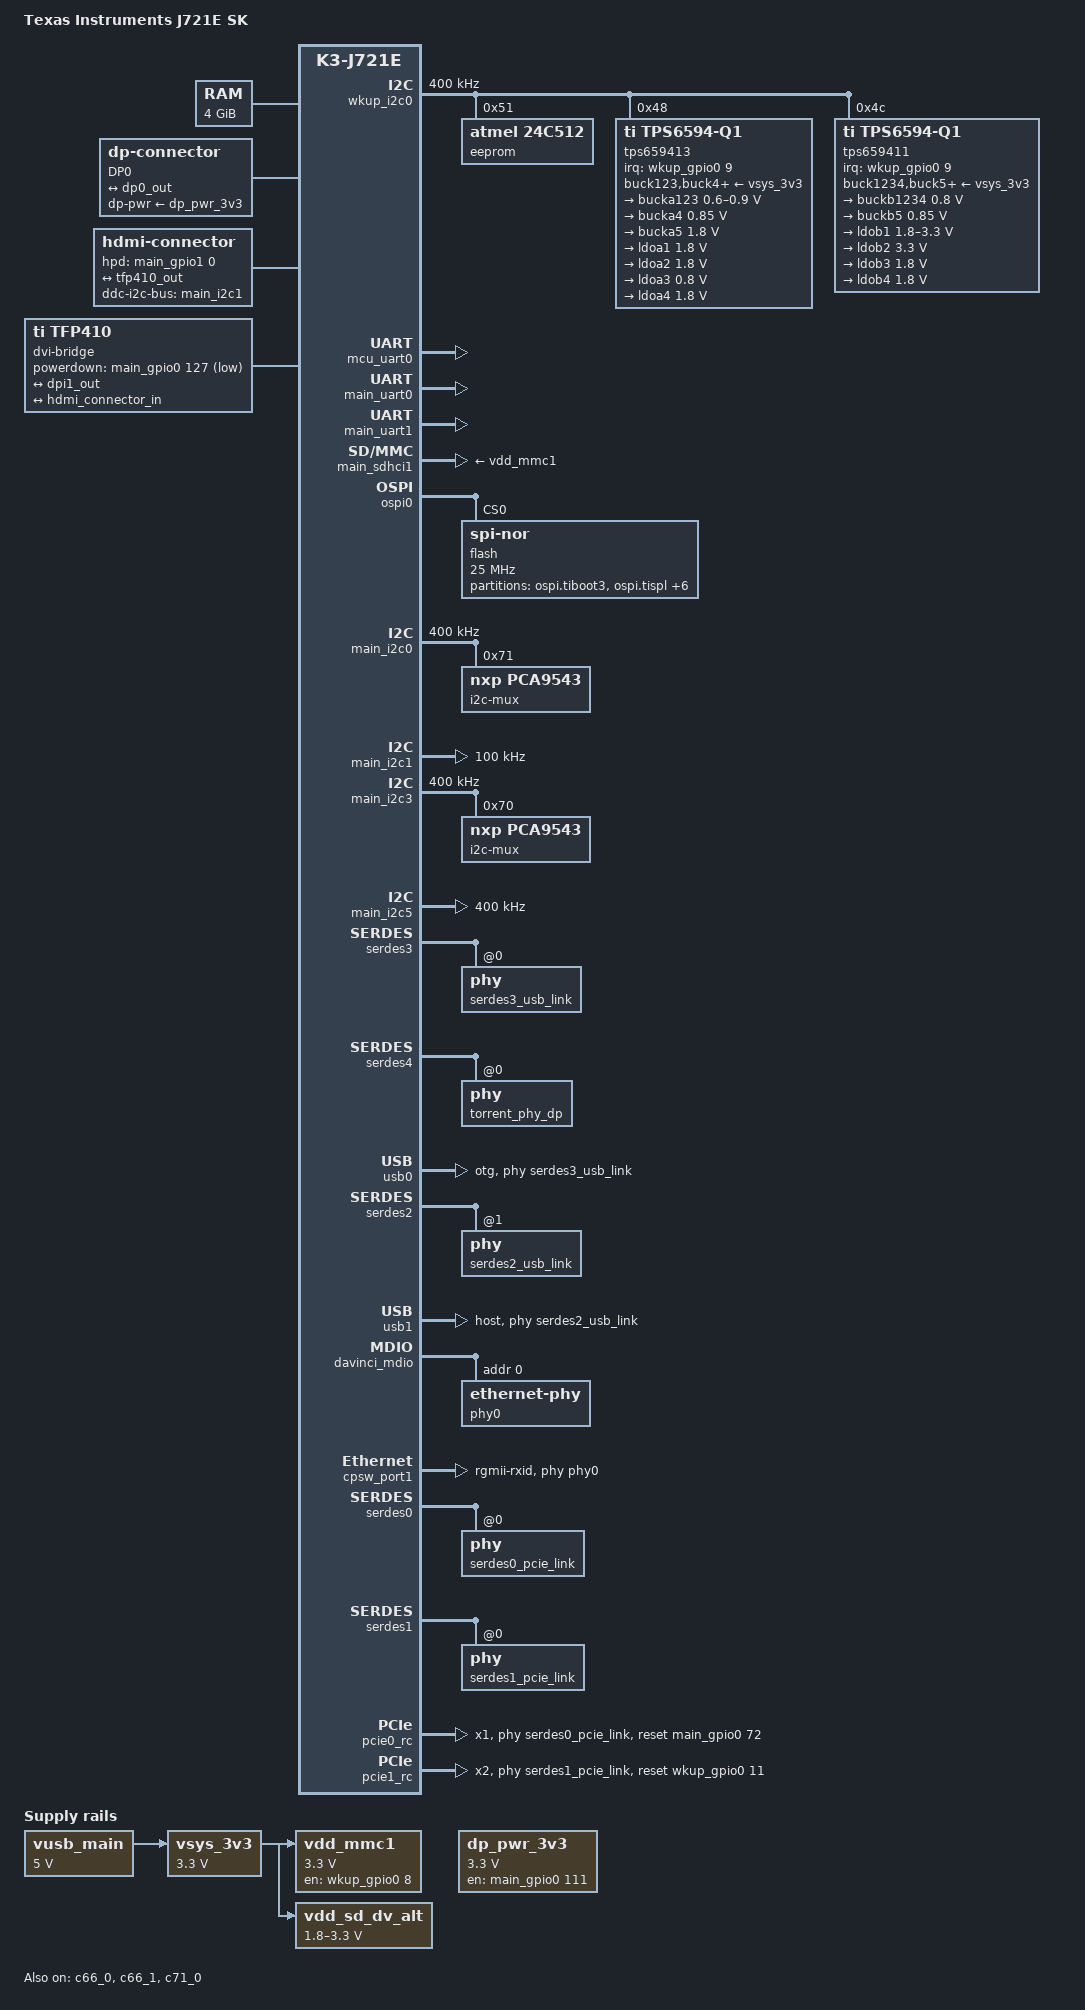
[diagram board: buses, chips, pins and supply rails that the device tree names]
// SPDX-License-Identifier: GPL-2.0
/*
 * Copyright (C) 2021 Texas Instruments Incorporated - https://www.ti.com/
 *
 * J721E SK URL: https://www.ti.com/tool/SK-TDA4VM
 */

/dts-v1/;

#include "k3-j721e.dtsi"
#include <dt-bindings/gpio/gpio.h>
#include <dt-bindings/input/input.h>
#include <dt-bindings/net/ti-dp83867.h>

/ {
	compatible = "ti,j721e-sk", "ti,j721e";
	model = "Texas Instruments J721E SK";

	aliases {
		serial0 = &wkup_uart0;
		serial1 = &mcu_uart0;
		serial2 = &main_uart0;
		serial3 = &main_uart1;
		ethernet0 = &cpsw_port1;
		mmc1 = &main_sdhci1;
	};

	chosen {
		stdout-path = "serial2:115200n8";
	};

	memory@80000000 {
		device_type = "memory";
		/* 4G RAM */
		reg = <0x00000000 0x80000000 0x00000000 0x80000000>,
		      <0x00000008 0x80000000 0x00000000 0x80000000>;
	};

	reserved_memory: reserved-memory {
		#address-cells = <2>;
		#size-cells = <2>;
		ranges;

		secure_ddr: optee@9e800000 {
			reg = <0x00 0x9e800000 0x00 0x01800000>;
			alignment = <0x1000>;
			no-map;
		};

		mcu_r5fss0_core0_dma_memory_region: r5f-dma-memory@a0000000 {
			compatible = "shared-dma-pool";
			reg = <0x00 0xa0000000 0x00 0x100000>;
			no-map;
		};

		mcu_r5fss0_core0_memory_region: r5f-memory@a0100000 {
			compatible = "shared-dma-pool";
			reg = <0x00 0xa0100000 0x00 0xf00000>;
			no-map;
		};

		mcu_r5fss0_core1_dma_memory_region: r5f-dma-memory@a1000000 {
			compatible = "shared-dma-pool";
			reg = <0x00 0xa1000000 0x00 0x100000>;
			no-map;
		};

		mcu_r5fss0_core1_memory_region: r5f-memory@a1100000 {
			compatible = "shared-dma-pool";
			reg = <0x00 0xa1100000 0x00 0xf00000>;
			no-map;
		};

		main_r5fss0_core0_dma_memory_region: r5f-dma-memory@a2000000 {
			compatible = "shared-dma-pool";
			reg = <0x00 0xa2000000 0x00 0x100000>;
			no-map;
		};

		main_r5fss0_core0_memory_region: r5f-memory@a2100000 {
			compatible = "shared-dma-pool";
			reg = <0x00 0xa2100000 0x00 0xf00000>;
			no-map;
		};

		main_r5fss0_core1_dma_memory_region: r5f-dma-memory@a3000000 {
			compatible = "shared-dma-pool";
			reg = <0x00 0xa3000000 0x00 0x100000>;
			no-map;
		};

		main_r5fss0_core1_memory_region: r5f-memory@a3100000 {
			compatible = "shared-dma-pool";
			reg = <0x00 0xa3100000 0x00 0xf00000>;
			no-map;
		};

		main_r5fss1_core0_dma_memory_region: r5f-dma-memory@a4000000 {
			compatible = "shared-dma-pool";
			reg = <0x00 0xa4000000 0x00 0x100000>;
			no-map;
		};

		main_r5fss1_core0_memory_region: r5f-memory@a4100000 {
			compatible = "shared-dma-pool";
			reg = <0x00 0xa4100000 0x00 0xf00000>;
			no-map;
		};

		main_r5fss1_core1_dma_memory_region: r5f-dma-memory@a5000000 {
			compatible = "shared-dma-pool";
			reg = <0x00 0xa5000000 0x00 0x100000>;
			no-map;
		};

		main_r5fss1_core1_memory_region: r5f-memory@a5100000 {
			compatible = "shared-dma-pool";
			reg = <0x00 0xa5100000 0x00 0xf00000>;
			no-map;
		};

		c66_1_dma_memory_region: c66-dma-memory@a6000000 {
			compatible = "shared-dma-pool";
			reg = <0x00 0xa6000000 0x00 0x100000>;
			no-map;
		};

		c66_0_memory_region: c66-memory@a6100000 {
			compatible = "shared-dma-pool";
			reg = <0x00 0xa6100000 0x00 0xf00000>;
			no-map;
		};

		c66_0_dma_memory_region: c66-dma-memory@a7000000 {
			compatible = "shared-dma-pool";
			reg = <0x00 0xa7000000 0x00 0x100000>;
			no-map;
		};

		c66_1_memory_region: c66-memory@a7100000 {
			compatible = "shared-dma-pool";
			reg = <0x00 0xa7100000 0x00 0xf00000>;
			no-map;
		};

		c71_0_dma_memory_region: c71-dma-memory@a8000000 {
			compatible = "shared-dma-pool";
			reg = <0x00 0xa8000000 0x00 0x100000>;
			no-map;
		};

		c71_0_memory_region: c71-memory@a8100000 {
			compatible = "shared-dma-pool";
			reg = <0x00 0xa8100000 0x00 0xf00000>;
			no-map;
		};

		rtos_ipc_memory_region: ipc-memories@aa000000 {
			reg = <0x00 0xaa000000 0x00 0x01c00000>;
			alignment = <0x1000>;
			no-map;
		};
	};

	vusb_main: fixedregulator-vusb-main5v0 {
		/* USB MAIN INPUT 5V DC */
		compatible = "regulator-fixed";
		regulator-name = "vusb-main5v0";
		regulator-min-microvolt = <5000000>;
		regulator-max-microvolt = <5000000>;
		regulator-always-on;
		regulator-boot-on;
	};

	vsys_3v3: fixedregulator-vsys3v3 {
		/* Output of LM5141 */
		compatible = "regulator-fixed";
		regulator-name = "vsys_3v3";
		regulator-min-microvolt = <3300000>;
		regulator-max-microvolt = <3300000>;
		vin-supply = <&vusb_main>;
		regulator-always-on;
		regulator-boot-on;
	};

	vdd_mmc1: fixedregulator-sd {
		compatible = "regulator-fixed";
		pinctrl-names = "default";
		pinctrl-0 = <&vdd_mmc1_en_pins_default>;
		regulator-name = "vdd_mmc1";
		regulator-min-microvolt = <3300000>;
		regulator-max-microvolt = <3300000>;
		regulator-boot-on;
		enable-active-high;
		vin-supply = <&vsys_3v3>;
		gpio = <&wkup_gpio0 8 GPIO_ACTIVE_HIGH>;
	};

	vdd_sd_dv_alt: gpio-regulator-tps659411 {
		compatible = "regulator-gpio";
		pinctrl-names = "default";
		pinctrl-0 = <&vdd_sd_dv_alt_pins_default>;
		regulator-name = "tps659411";
		regulator-min-microvolt = <1800000>;
		regulator-max-microvolt = <3300000>;
		regulator-boot-on;
		vin-supply = <&vsys_3v3>;
		gpios = <&wkup_gpio0 9 GPIO_ACTIVE_HIGH>;
		states = <1800000 0x0>,
			 <3300000 0x1>;
	};

	dp_pwr_3v3: fixedregulator-dp-prw {
		compatible = "regulator-fixed";
		regulator-name = "dp-pwr";
		regulator-min-microvolt = <3300000>;
		regulator-max-microvolt = <3300000>;
		pinctrl-names = "default";
		pinctrl-0 = <&dp_pwr_en_pins_default>;
		gpio = <&main_gpio0 111 0>;	/* DP0_3V3 _EN */
		enable-active-high;
	};

	dp0: connector {
		compatible = "dp-connector";
		label = "DP0";
		type = "full-size";
		dp-pwr-supply = <&dp_pwr_3v3>;

		port {
			dp_connector_in: endpoint {
				remote-endpoint = <&dp0_out>;
			};
		};
	};

	hdmi-connector {
		compatible = "hdmi-connector";
		label = "hdmi";
		type = "a";

		pinctrl-names = "default";
		pinctrl-0 = <&hdmi_hpd_pins_default>;

		ddc-i2c-bus = <&main_i2c1>;

		/* HDMI_HPD */
		hpd-gpios = <&main_gpio1 0 GPIO_ACTIVE_HIGH>;

		port {
			hdmi_connector_in: endpoint {
				remote-endpoint = <&tfp410_out>;
			};
		};
	};

	dvi-bridge {
		compatible = "ti,tfp410";

		pinctrl-names = "default";
		pinctrl-0 = <&hdmi_pdn_pins_default>;

		powerdown-gpios = <&main_gpio0 127 GPIO_ACTIVE_LOW>;
		ti,deskew = <0>;

		ports {
			#address-cells = <1>;
			#size-cells = <0>;

			port@0 {
				reg = <0>;

				tfp410_in: endpoint {
					remote-endpoint = <&dpi1_out>;
					pclk-sample = <1>;
				};
			};

			port@1 {
				reg = <1>;

				tfp410_out: endpoint {
					remote-endpoint =
						<&hdmi_connector_in>;
				};
			};
		};
	};
};

&main_pmx0 {
	main_mmc1_pins_default: main-mmc1-default-pins {
		pinctrl-single,pins = <
			J721E_IOPAD(0x254, PIN_INPUT, 0) /* (R29) MMC1_CMD */
			J721E_IOPAD(0x250, PIN_INPUT, 0) /* (P25) MMC1_CLK */
			J721E_IOPAD(0x2ac, PIN_INPUT, 0) /* (P25) MMC1_CLKLB */
			J721E_IOPAD(0x24c, PIN_INPUT, 0) /* (R24) MMC1_DAT0 */
			J721E_IOPAD(0x248, PIN_INPUT, 0) /* (P24) MMC1_DAT1 */
			J721E_IOPAD(0x244, PIN_INPUT, 0) /* (R25) MMC1_DAT2 */
			J721E_IOPAD(0x240, PIN_INPUT, 0) /* (R26) MMC1_DAT3 */
			J721E_IOPAD(0x258, PIN_INPUT, 0) /* (P23) MMC1_SDCD */
		>;
	};

	main_uart0_pins_default: main-uart0-default-pins {
		pinctrl-single,pins = <
			J721E_IOPAD(0x1f0, PIN_INPUT, 0) /* (AC2) UART0_CTSn */
			J721E_IOPAD(0x1f4, PIN_OUTPUT, 0) /* (AB1) UART0_RTSn */
			J721E_IOPAD(0x1e8, PIN_INPUT, 0) /* (AB2) UART0_RXD */
			J721E_IOPAD(0x1ec, PIN_OUTPUT, 0) /* (AB3) UART0_TXD */
		>;
	};

	main_uart1_pins_default: main-uart1-default-pins {
		pinctrl-single,pins = <
			J721E_IOPAD(0x1f8, PIN_INPUT, 0) /* (AA4) UART1_RXD */
			J721E_IOPAD(0x1fc, PIN_OUTPUT, 0) /* (AB4) UART1_TXD */
		>;
	};

	main_i2c0_pins_default: main-i2c0-default-pins {
		pinctrl-single,pins = <
			J721E_IOPAD(0x220, PIN_INPUT_PULLUP, 0) /* (AC5) I2C0_SCL */
			J721E_IOPAD(0x224, PIN_INPUT_PULLUP, 0) /* (AA5) I2C0_SDA */
		>;
	};

	main_i2c1_pins_default: main-i2c1-default-pins {
		pinctrl-single,pins = <
			J721E_IOPAD(0x228, PIN_INPUT_PULLUP, 0) /* (Y6) I2C1_SCL */
			J721E_IOPAD(0x22c, PIN_INPUT_PULLUP, 0) /* (AA6) I2C1_SDA */
		>;
	};

	main_i2c3_pins_default: main-i2c3-default-pins {
		pinctrl-single,pins = <
			J721E_IOPAD(0x270, PIN_INPUT_PULLUP, 4) /* (T26) MMC2_CLK.I2C3_SCL */
			J721E_IOPAD(0x274, PIN_INPUT_PULLUP, 4) /* (T25) MMC2_CMD.I2C3_SDA */
		>;
	};

	main_usbss0_pins_default: main-usbss0-default-pins {
		pinctrl-single,pins = <
			J721E_IOPAD(0x290, PIN_OUTPUT, 0) /* (U6) USB0_DRVVBUS */
			J721E_IOPAD(0x210, PIN_INPUT, 7) /* (W3) MCAN1_RX.GPIO1_3 */
		>;
	};

	main_usbss1_pins_default: main-usbss1-default-pins {
		pinctrl-single,pins = <
			J721E_IOPAD(0x214, PIN_OUTPUT, 4) /* (V4) MCAN1_TX.USB1_DRVVBUS */
		>;
	};

	dp0_pins_default: dp0-default-pins {
		pinctrl-single,pins = <
			J721E_IOPAD(0x1c4, PIN_INPUT, 5) /* SPI0_CS1.DP0_HPD */
		>;
	};

	dp_pwr_en_pins_default: dp-pwr-en-default-pins {
		pinctrl-single,pins = <
			J721E_IOPAD(0x1c0, PIN_INPUT, 7) /* (AA2) SPI0_CS0.GPIO0_111 */
		>;
	};

	dss_vout0_pins_default: dss-vout0-default-pins {
		pinctrl-single,pins = <
			J721E_IOPAD(0x58, PIN_OUTPUT, 10) /* (AE22) PRG1_PRU1_GPO0.VOUT0_DATA0 */
			J721E_IOPAD(0x5c, PIN_OUTPUT, 10) /* (AG23) PRG1_PRU1_GPO1.VOUT0_DATA1 */
			J721E_IOPAD(0x60, PIN_OUTPUT, 10) /* (AF23) PRG1_PRU1_GPO2.VOUT0_DATA2 */
			J721E_IOPAD(0x64, PIN_OUTPUT, 10) /* (AD23) PRG1_PRU1_GPO3.VOUT0_DATA3 */
			J721E_IOPAD(0x68, PIN_OUTPUT, 10) /* (AH24) PRG1_PRU1_GPO4.VOUT0_DATA4 */
			J721E_IOPAD(0x6c, PIN_OUTPUT, 10) /* (AG21) PRG1_PRU1_GPO5.VOUT0_DATA5 */
			J721E_IOPAD(0x70, PIN_OUTPUT, 10) /* (AE23) PRG1_PRU1_GPO6.VOUT0_DATA6 */
			J721E_IOPAD(0x74, PIN_OUTPUT, 10) /* (AC21) PRG1_PRU1_GPO7.VOUT0_DATA7 */
			J721E_IOPAD(0x78, PIN_OUTPUT, 10) /* (Y23) PRG1_PRU1_GPO8.VOUT0_DATA8 */
			J721E_IOPAD(0x7c, PIN_OUTPUT, 10) /* (AF21) PRG1_PRU1_GPO9.VOUT0_DATA9 */
			J721E_IOPAD(0x80, PIN_OUTPUT, 10) /* (AB23) PRG1_PRU1_GPO10.VOUT0_DATA10 */
			J721E_IOPAD(0x84, PIN_OUTPUT, 10) /* (AJ25) PRG1_PRU1_GPO11.VOUT0_DATA11 */
			J721E_IOPAD(0x88, PIN_OUTPUT, 10) /* (AH25) PRG1_PRU1_GPO12.VOUT0_DATA12 */
			J721E_IOPAD(0x8c, PIN_OUTPUT, 10) /* (AG25) PRG1_PRU1_GPO13.VOUT0_DATA13 */
			J721E_IOPAD(0x90, PIN_OUTPUT, 10) /* (AH26) PRG1_PRU1_GPO14.VOUT0_DATA14 */
			J721E_IOPAD(0x94, PIN_OUTPUT, 10) /* (AJ27) PRG1_PRU1_GPO15.VOUT0_DATA15 */
			J721E_IOPAD(0x30, PIN_OUTPUT, 10) /* (AF24) PRG1_PRU0_GPO11.VOUT0_DATA16 */
			J721E_IOPAD(0x34, PIN_OUTPUT, 10) /* (AJ24) PRG1_PRU0_GPO12.VOUT0_DATA17 */
			J721E_IOPAD(0x38, PIN_OUTPUT, 10) /* (AG24) PRG1_PRU0_GPO13.VOUT0_DATA18 */
			J721E_IOPAD(0x3c, PIN_OUTPUT, 10) /* (AD24) PRG1_PRU0_GPO14.VOUT0_DATA19 */
			J721E_IOPAD(0x40, PIN_OUTPUT, 10) /* (AC24) PRG1_PRU0_GPO15.VOUT0_DATA20 */
			J721E_IOPAD(0x44, PIN_OUTPUT, 10) /* (AE24) PRG1_PRU0_GPO16.VOUT0_DATA21 */
			J721E_IOPAD(0x24, PIN_OUTPUT, 10) /* (AJ20) PRG1_PRU0_GPO8.VOUT0_DATA22 */
			J721E_IOPAD(0x28, PIN_OUTPUT, 10) /* (AG20) PRG1_PRU0_GPO9.VOUT0_DATA23 */
			J721E_IOPAD(0x9c, PIN_OUTPUT, 10) /* (AC22) PRG1_PRU1_GPO17.VOUT0_DE */
			J721E_IOPAD(0x98, PIN_OUTPUT, 10) /* (AJ26) PRG1_PRU1_GPO16.VOUT0_HSYNC */
			J721E_IOPAD(0xa4, PIN_OUTPUT, 10) /* (AH22) PRG1_PRU1_GPO19.VOUT0_PCLK */
			J721E_IOPAD(0xa0, PIN_OUTPUT, 10) /* (AJ22) PRG1_PRU1_GPO18.VOUT0_VSYNC */
		>;
	};

	hdmi_hpd_pins_default: hdmi-hpd-default-pins {
		pinctrl-single,pins = <
			J721E_IOPAD(0x204, PIN_INPUT, 7) /* (AD5) UART1_RTSn.GPIO1_0 */
		>;
	};

	hdmi_pdn_pins_default: hdmi-pdn-default-pins {
		pinctrl-single,pins = <
			J721E_IOPAD(0x200, PIN_INPUT, 7) /* (AC4) UART1_CTSn.GPIO0_127 */
		>;
	};

	/* Reset for M.2 E Key slot on PCIe0  */
	ekey_reset_pins_default: ekey-reset-pns-default-pins {
		pinctrl-single,pins = <
			J721E_IOPAD(0x124, PIN_INPUT, 7) /* (Y24) PRG0_PRU1_GPO9.GPIO0_72 */
		>;
	};

	main_i2c5_pins_default: main-i2c5-default-pins {
		pinctrl-single,pins = <
			J721E_IOPAD(0x150, PIN_INPUT_PULLUP, 2) /* (Y26) PRG0_MDIO0_MDIO.I2C5_SCL */
			J721E_IOPAD(0x154, PIN_INPUT_PULLUP, 2) /* (AA27) PRG0_MDIO0_MDC.I2C5_SDA */
		>;
	};

	rpi_header_gpio0_pins_default: rpi-header-gpio0-default-pins {
		pinctrl-single,pins = <
			J721E_IOPAD(0x01C, PIN_INPUT, 7) /* (AD22) PRG1_PRU0_GPO6.GPIO0_7 */
			J721E_IOPAD(0x120, PIN_INPUT, 7) /* (AA28) PRG0_PRU1_GPO8.GPIO0_71 */
			J721E_IOPAD(0x14C, PIN_INPUT, 7) /* (AA29) PRG0_PRU1_GPO19.GPIO0_82 */
			J721E_IOPAD(0x02C, PIN_INPUT, 7) /* (AD21) PRG1_PRU0_GPO10.GPIO0_11 */
			J721E_IOPAD(0x198, PIN_INPUT, 7) /* (V25) RGMII6_TD1.GPIO0_101 */
			J721E_IOPAD(0x1B0, PIN_INPUT, 7) /* (W24) RGMII6_RD1.GPIO0_107 */
			J721E_IOPAD(0x1A0, PIN_INPUT, 7) /* (W29) RGMII6_TXC.GPIO0_103 */
			J721E_IOPAD(0x008, PIN_INPUT, 7) /* (AG22) PRG1_PRU0_GPO1.GPIO0_2 */
			J721E_IOPAD(0x1D0, PIN_INPUT, 7) /* (AA3) SPI0_D1.GPIO0_115 */
			J721E_IOPAD(0x11C, PIN_INPUT, 7) /* (AA24) PRG0_PRU1_GPO7.GPIO0_70 */
			J721E_IOPAD(0x148, PIN_INPUT, 7) /* (AA26) PRG0_PRU1_GPO18.GPIO0_81 */
			J721E_IOPAD(0x004, PIN_INPUT, 7) /* (AC23) PRG1_PRU0_GPO0.GPIO0_1 */
			J721E_IOPAD(0x014, PIN_INPUT, 7) /* (AH23) PRG1_PRU0_GPO4.GPIO0_5 */
			J721E_IOPAD(0x020, PIN_INPUT, 7) /* (AE20) PRG1_PRU0_GPO7.GPIO0_8 */
			J721E_IOPAD(0x19C, PIN_INPUT, 7) /* (W27) RGMII6_TD0.GPIO0_102 */
			J721E_IOPAD(0x1B4, PIN_INPUT, 7) /* (W25) RGMII6_RD0.GPIO0_108 */
			J721E_IOPAD(0x188, PIN_INPUT, 7) /* (Y28) RGMII6_TX_CTL.GPIO0_97 */
			J721E_IOPAD(0x00C, PIN_INPUT, 7) /* (AF22) PRG1_PRU0_GPO2.GPIO0_3 */
			J721E_IOPAD(0x010, PIN_INPUT, 7) /* (AJ23) PRG1_PRU0_GPO3.GPIO0_4 */
			J721E_IOPAD(0x178, PIN_INPUT, 7) /* (U27) RGMII5_RD3.GPIO0_93 */
			J721E_IOPAD(0x17C, PIN_INPUT, 7) /* (U24) RGMII5_RD2.GPIO0_94 */
			J721E_IOPAD(0x190, PIN_INPUT, 7) /* (W23) RGMII6_TD3.GPIO0_99 */
			J721E_IOPAD(0x18C, PIN_INPUT, 7) /* (V23) RGMII6_RX_CTL.GPIO0_98 */
		>;
	};

	rpi_header_gpio1_pins_default: rpi-header-gpio1-default-pins {
		pinctrl-single,pins = <
			J721E_IOPAD(0x234, PIN_INPUT, 7) /* (U3) EXT_REFCLK1.GPIO1_12 */
		>;
	};
};

&wkup_pmx0 {
	pmic_irq_pins_default: pmic-irq-default-pins {
		pinctrl-single,pins = <
			J721E_WKUP_IOPAD(0x0cc, PIN_INPUT, 7) /* (G28) WKUP_GPIO0_7 */
		>;
	};

	mcu_cpsw_pins_default: mcu-cpsw-default-pins {
		pinctrl-single,pins = <
			J721E_WKUP_IOPAD(0x84, PIN_INPUT, 0) /* (B24) MCU_RGMII1_RD0 */
			J721E_WKUP_IOPAD(0x80, PIN_INPUT, 0) /* (A24) MCU_RGMII1_RD1 */
			J721E_WKUP_IOPAD(0x7c, PIN_INPUT, 0) /* (D24) MCU_RGMII1_RD2 */
			J721E_WKUP_IOPAD(0x78, PIN_INPUT, 0) /* (A25) MCU_RGMII1_RD3 */
			J721E_WKUP_IOPAD(0x74, PIN_INPUT, 0) /* (C24) MCU_RGMII1_RXC */
			J721E_WKUP_IOPAD(0x5c, PIN_INPUT, 0) /* (C25) MCU_RGMII1_RX_CTL */
			J721E_WKUP_IOPAD(0x6c, PIN_OUTPUT, 0) /* (B25) MCU_RGMII1_TD0 */
			J721E_WKUP_IOPAD(0x68, PIN_OUTPUT, 0) /* (A26) MCU_RGMII1_TD1 */
			J721E_WKUP_IOPAD(0x64, PIN_OUTPUT, 0) /* (A27) MCU_RGMII1_TD2 */
			J721E_WKUP_IOPAD(0x60, PIN_OUTPUT, 0) /* (A28) MCU_RGMII1_TD3 */
			J721E_WKUP_IOPAD(0x70, PIN_OUTPUT, 0) /* (B26) MCU_RGMII1_TXC */
			J721E_WKUP_IOPAD(0x58, PIN_OUTPUT, 0) /* (B27) MCU_RGMII1_TX_CTL */
		>;
	};

	mcu_mdio_pins_default: mcu-mdio1-default-pins {
		pinctrl-single,pins = <
			J721E_WKUP_IOPAD(0x8c, PIN_OUTPUT, 0) /* (F23) MCU_MDIO0_MDC */
			J721E_WKUP_IOPAD(0x88, PIN_INPUT, 0) /* (E23) MCU_MDIO0_MDIO */
		>;
	};

	mcu_fss0_ospi0_pins_default: mcu-fss0-ospi0-default-pins {
		pinctrl-single,pins = <
			J721E_WKUP_IOPAD(0x0, PIN_OUTPUT, 0) /* (E20) MCU_OSPI0_CLK */
			J721E_WKUP_IOPAD(0x2c, PIN_OUTPUT, 0) /* (F19) MCU_OSPI0_CSn0 */
			J721E_WKUP_IOPAD(0xc, PIN_INPUT, 0) /* (D20) MCU_OSPI0_D0 */
			J721E_WKUP_IOPAD(0x10, PIN_INPUT, 0) /* (G19) MCU_OSPI0_D1 */
			J721E_WKUP_IOPAD(0x14, PIN_INPUT, 0) /* (G20) MCU_OSPI0_D2 */
			J721E_WKUP_IOPAD(0x18, PIN_INPUT, 0) /* (F20) MCU_OSPI0_D3 */
			J721E_WKUP_IOPAD(0x1c, PIN_INPUT, 0) /* (F21) MCU_OSPI0_D4 */
			J721E_WKUP_IOPAD(0x20, PIN_INPUT, 0) /* (E21) MCU_OSPI0_D5 */
			J721E_WKUP_IOPAD(0x24, PIN_INPUT, 0) /* (B22) MCU_OSPI0_D6 */
			J721E_WKUP_IOPAD(0x28, PIN_INPUT, 0) /* (G21) MCU_OSPI0_D7 */
			J721E_WKUP_IOPAD(0x8, PIN_INPUT, 0) /* (D21) MCU_OSPI0_DQS */
		>;
	};

	vdd_mmc1_en_pins_default: vdd-mmc1-en-default-pins {
		pinctrl-single,pins = <
			J721E_WKUP_IOPAD(0xd0, PIN_OUTPUT, 7) /* (G27) WKUP_GPIO0_8 */
		>;
	};

	vdd_sd_dv_alt_pins_default: vdd-sd-dv-alt-default-pins {
		pinctrl-single,pins = <
			J721E_WKUP_IOPAD(0xd4, PIN_OUTPUT, 7) /* (G26) WKUP_GPIO0_9 */
		>;
	};

	wkup_uart0_pins_default: wkup-uart0-default-pins {
		pinctrl-single,pins = <
			J721E_WKUP_IOPAD(0xa0, PIN_INPUT, 0) /* (J29) WKUP_UART0_RXD */
			J721E_WKUP_IOPAD(0xa4, PIN_OUTPUT, 0) /* (J28) WKUP_UART0_TXD */
		>;
	};

	mcu_uart0_pins_default: mcu-uart0-default-pins {
		pinctrl-single,pins = <
			J721E_WKUP_IOPAD(0xf0, PIN_INPUT, 2) /* (D26) MCU_I3C0_SCL.MCU_UART0_CTSn */
			J721E_WKUP_IOPAD(0xf4, PIN_OUTPUT, 2)/* (D25) MCU_I3C0_SDA.MCU_UART0_RTSn */
			J721E_WKUP_IOPAD(0xe4, PIN_INPUT, 0) /* (H28) WKUP_GPIO0_13.MCU_UART0_RXD */
			J721E_WKUP_IOPAD(0xe0, PIN_OUTPUT, 0)/* (G29) WKUP_GPIO0_12.MCU_UART0_TXD */
		>;
	};

	wkup_i2c0_pins_default: wkup-i2c0-default-pins {
		pinctrl-single,pins = <
			J721E_WKUP_IOPAD(0xf8, PIN_INPUT_PULLUP, 0) /* (J25) WKUP_I2C0_SCL */
			J721E_WKUP_IOPAD(0xfc, PIN_INPUT_PULLUP, 0) /* (H24) WKUP_I2C0_SDA */
		>;
	};

	/* Reset for M.2 M Key slot on PCIe1  */
	mkey_reset_pins_default: mkey-reset-pns-default-pins {
		pinctrl-single,pins = <
			J721E_WKUP_IOPAD(0xdc, PIN_INPUT, 7) /* (H27) WKUP_GPIO0_11 */
		>;
	};
};

&wkup_uart0 {
	/* Wakeup UART is used by System firmware */
	status = "reserved";
	pinctrl-names = "default";
	pinctrl-0 = <&wkup_uart0_pins_default>;
};

&wkup_i2c0 {
	status = "okay";
	pinctrl-names = "default";
	pinctrl-0 = <&wkup_i2c0_pins_default>;
	clock-frequency = <400000>;

	eeprom@51 {
		/* AT24C512C-MAHM-T */
		compatible = "atmel,24c512";
		reg = <0x51>;
	};

	tps659413: pmic@48 {
		compatible = "ti,tps6594-q1";
		reg = <0x48>;
		system-power-controller;
		pinctrl-names = "default";
		pinctrl-0 = <&pmic_irq_pins_default>;
		interrupt-parent = <&wkup_gpio0>;
		interrupts = <9 IRQ_TYPE_EDGE_FALLING>;
		gpio-controller;
		#gpio-cells = <2>;
		ti,primary-pmic;
		buck123-supply = <&vsys_3v3>;
		buck4-supply = <&vsys_3v3>;
		buck5-supply = <&vsys_3v3>;
		ldo1-supply = <&vsys_3v3>;
		ldo2-supply = <&vsys_3v3>;
		ldo3-supply = <&vsys_3v3>;
		ldo4-supply = <&vsys_3v3>;

		regulators {
			bucka123: buck123 {
				regulator-name = "vdd_cpu_avs";
				regulator-min-microvolt = <600000>;
				regulator-max-microvolt = <900000>;
				regulator-boot-on;
				regulator-always-on;
				bootph-pre-ram;
			};

			bucka4: buck4 {
				regulator-name = "vdd_mcu_0v85";
				regulator-min-microvolt = <850000>;
				regulator-max-microvolt = <850000>;
				regulator-boot-on;
				regulator-always-on;
			};

			bucka5: buck5 {
				regulator-name = "vdd_phyio_1v8";
				regulator-min-microvolt = <1800000>;
				regulator-max-microvolt = <1800000>;
				regulator-boot-on;
				regulator-always-on;
			};

			ldoa1: ldo1 {
				regulator-name = "vdd1_lpddr4_1v8";
				regulator-min-microvolt = <1800000>;
				regulator-max-microvolt = <1800000>;
				regulator-boot-on;
				regulator-always-on;
			};

			ldoa2: ldo2 {
				regulator-name = "vdd_mcuio_1v8";
				regulator-min-microvolt = <1800000>;
				regulator-max-microvolt = <1800000>;
				regulator-boot-on;
				regulator-always-on;
			};

			ldoa3: ldo3 {
				regulator-name = "vdda_dll_0v8";
				regulator-min-microvolt = <800000>;
				regulator-max-microvolt = <800000>;
				regulator-boot-on;
				regulator-always-on;
			};

			ldoa4: ldo4 {
				regulator-name = "vda_mcu_1v8";
				regulator-min-microvolt = <1800000>;
				regulator-max-microvolt = <1800000>;
				regulator-boot-on;
				regulator-always-on;
			};
		};
	};

	tps659411: pmic@4c {
		compatible = "ti,tps6594-q1";
		reg = <0x4c>;
		system-power-controller;
		interrupt-parent = <&wkup_gpio0>;
		interrupts = <9 IRQ_TYPE_EDGE_FALLING>;
		gpio-controller;
		#gpio-cells = <2>;
		buck1234-supply = <&vsys_3v3>;
		buck5-supply = <&vsys_3v3>;
		ldo1-supply = <&vsys_3v3>;
		ldo2-supply = <&vsys_3v3>;
		ldo3-supply = <&vsys_3v3>;
		ldo4-supply = <&vsys_3v3>;

		regulators {
			buckb1234: buck1234 {
				regulator-name = "vdd_core_0v8";
				regulator-min-microvolt = <800000>;
				regulator-max-microvolt = <800000>;
				regulator-boot-on;
				regulator-always-on;
			};

			buckb5: buck5 {
				regulator-name = "vdd_ram_0v85";
				regulator-min-microvolt = <850000>;
				regulator-max-microvolt = <850000>;
				regulator-boot-on;
				regulator-always-on;
			};

			ldob1: ldo1 {
				regulator-name = "vdd_sd_dv";
				regulator-min-microvolt = <1800000>;
				regulator-max-microvolt = <3300000>;
				regulator-boot-on;
				regulator-always-on;
			};

			ldob2: ldo2 {
				regulator-name = "vdd_usb_3v3";
				regulator-min-microvolt = <3300000>;
				regulator-max-microvolt = <3300000>;
				regulator-boot-on;
				regulator-always-on;
			};

			ldob3: ldo3 {
				regulator-name = "vdd_io_1v8";
				regulator-min-microvolt = <1800000>;
				regulator-max-microvolt = <1800000>;
				regulator-boot-on;
				regulator-always-on;
			};

			ldob4: ldo4 {
				regulator-name = "vda_pll_1v8";
				regulator-min-microvolt = <1800000>;
				regulator-max-microvolt = <1800000>;
				regulator-boot-on;
				regulator-always-on;
			};
		};
	};
};

&mcu_uart0 {
	status = "okay";
	pinctrl-names = "default";
	pinctrl-0 = <&mcu_uart0_pins_default>;
};

&main_uart0 {
	status = "okay";
	pinctrl-names = "default";
	pinctrl-0 = <&main_uart0_pins_default>;
	/* Shared with ATF on this platform */
	power-domains = <&k3_pds 146 TI_SCI_PD_SHARED>;
};

&main_uart1 {
	status = "okay";
	pinctrl-names = "default";
	pinctrl-0 = <&main_uart1_pins_default>;
};

&main_sdhci1 {
	/* SD Card */
	status = "okay";
	vmmc-supply = <&vdd_mmc1>;
	vqmmc-supply = <&vdd_sd_dv_alt>;
	pinctrl-names = "default";
	pinctrl-0 = <&main_mmc1_pins_default>;
	ti,driver-strength-ohm = <50>;
	disable-wp;
};

&ospi0 {
	status = "okay";
	pinctrl-names = "default";
	pinctrl-0 = <&mcu_fss0_ospi0_pins_default>;

	flash@0 {
		compatible = "jedec,spi-nor";
		reg = <0x0>;
		spi-tx-bus-width = <8>;
		spi-rx-bus-width = <8>;
		spi-max-frequency = <25000000>;
		cdns,tshsl-ns = <60>;
		cdns,tsd2d-ns = <60>;
		cdns,tchsh-ns = <60>;
		cdns,tslch-ns = <60>;
		cdns,read-delay = <4>;

		partitions {
			compatible = "fixed-partitions";
			#address-cells = <1>;
			#size-cells = <1>;

			partition@0 {
				label = "ospi.tiboot3";
				reg = <0x0 0x80000>;
			};

			partition@80000 {
				label = "ospi.tispl";
				reg = <0x80000 0x200000>;
			};

			partition@280000 {
				label = "ospi.u-boot";
				reg = <0x280000 0x400000>;
			};

			partition@680000 {
				label = "ospi.env";
				reg = <0x680000 0x40000>;
			};

			partition@6c0000 {
				label = "ospi.sysfw";
				reg = <0x6c0000 0x100000>;
			};

			partition@7c0000 {
				label = "ospi.env.backup";
				reg = <0x7c0000 0x40000>;
			};

			partition@800000 {
				label = "ospi.rootfs";
				reg = <0x800000 0x37c0000>;
			};

			partition@3fc0000 {
				label = "ospi.phypattern";
				reg = <0x3fc0000 0x40000>;
			};
		};
	};
};

&main_i2c0 {
	status = "okay";
	pinctrl-names = "default";
	pinctrl-0 = <&main_i2c0_pins_default>;
	clock-frequency = <400000>;

	i2c-mux@71 {
		compatible = "nxp,pca9543";
		#address-cells = <1>;
		#size-cells = <0>;
		reg = <0x71>;

		/* PCIe1 M.2 M Key I2C */
		i2c@0 {
			#address-cells = <1>;
			#size-cells = <0>;
			reg = <0>;
		};

		/* PCIe0 M.2 E Key I2C */
		i2c@1 {
			#address-cells = <1>;
			#size-cells = <0>;
			reg = <1>;
		};
	};
};

&main_i2c1 {
	status = "okay";
	pinctrl-names = "default";
	pinctrl-0 = <&main_i2c1_pins_default>;
	/* i2c1 is used for DVI DDC, so we need to use 100kHz */
	clock-frequency = <100000>;
};

&main_i2c3 {
	status = "okay";
	pinctrl-names = "default";
	pinctrl-0 = <&main_i2c3_pins_default>;
	clock-frequency = <400000>;

	i2c-mux@70 {
		compatible = "nxp,pca9543";
		#address-cells = <1>;
		#size-cells = <0>;
		reg = <0x70>;

		/* CSI0 I2C */
		i2c@0 {
			#address-cells = <1>;
			#size-cells = <0>;
			reg = <0>;
		};

		/* CSI1 I2C */
		i2c@1 {
			#address-cells = <1>;
			#size-cells = <0>;
			reg = <1>;
		};
	};
};

&main_i2c5 {
	/* Brought out on RPi Header */
	status = "okay";
	pinctrl-names = "default";
	pinctrl-0 = <&main_i2c5_pins_default>;
	clock-frequency = <400000>;
};

&main_gpio0 {
	status = "okay";
	pinctrl-names = "default";
	pinctrl-0 = <&rpi_header_gpio0_pins_default>;
};

&main_gpio1 {
	status = "okay";
	pinctrl-names = "default";
	pinctrl-0 = <&rpi_header_gpio1_pins_default>;
};

&wkup_gpio0 {
	status = "okay";
};

&usb_serdes_mux {
	idle-states = <1>, <1>; /* USB0 to SERDES3, USB1 to SERDES2 */
};

&serdes_ln_ctrl {
	idle-states = <J721E_SERDES0_LANE0_PCIE0_LANE0>, <J721E_SERDES0_LANE1_IP4_UNUSED>,
		      <J721E_SERDES1_LANE0_PCIE1_LANE0>, <J721E_SERDES1_LANE1_PCIE1_LANE1>,
		      <J721E_SERDES2_LANE0_IP1_UNUSED>, <J721E_SERDES2_LANE1_USB3_1>,
		      <J721E_SERDES3_LANE0_USB3_0_SWAP>, <J721E_SERDES3_LANE1_USB3_0>,
		      <J721E_SERDES4_LANE0_EDP_LANE0>, <J721E_SERDES4_LANE1_EDP_LANE1>,
		      <J721E_SERDES4_LANE2_EDP_LANE2>, <J721E_SERDES4_LANE3_EDP_LANE3>;
};

&serdes_wiz3 {
	typec-dir-gpios = <&main_gpio1 3 GPIO_ACTIVE_HIGH>;
	typec-dir-debounce-ms = <700>;	/* TUSB321, tCCB_DEFAULT 133 ms */
};

&serdes3 {
	serdes3_usb_link: phy@0 {
		reg = <0>;
		cdns,num-lanes = <2>;
		#phy-cells = <0>;
		cdns,phy-type = <PHY_TYPE_USB3>;
		resets = <&serdes_wiz3 1>, <&serdes_wiz3 2>;
	};
};

&serdes4 {
	torrent_phy_dp: phy@0 {
		reg = <0>;
		resets = <&serdes_wiz4 1>;
		cdns,phy-type = <PHY_TYPE_DP>;
		cdns,num-lanes = <4>;
		cdns,max-bit-rate = <5400>;
		#phy-cells = <0>;
	};
};

&mhdp {
	phys = <&torrent_phy_dp>;
	phy-names = "dpphy";
	pinctrl-names = "default";
	pinctrl-0 = <&dp0_pins_default>;
};

&usbss0 {
	pinctrl-names = "default";
	pinctrl-0 = <&main_usbss0_pins_default>;
	ti,vbus-divider;
};

&usb0 {
	dr_mode = "otg";
	maximum-speed = "super-speed";
	phys = <&serdes3_usb_link>;
	phy-names = "cdns3,usb3-phy";
};

&serdes2 {
	serdes2_usb_link: phy@1 {
		reg = <1>;
		cdns,num-lanes = <1>;
		#phy-cells = <0>;
		cdns,phy-type = <PHY_TYPE_USB3>;
		resets = <&serdes_wiz2 2>;
	};
};

&usbss1 {
	pinctrl-names = "default";
	pinctrl-0 = <&main_usbss1_pins_default>;
	ti,vbus-divider;
};

&usb1 {
	dr_mode = "host";
	maximum-speed = "super-speed";
	phys = <&serdes2_usb_link>;
	phy-names = "cdns3,usb3-phy";
};

&mcu_cpsw {
	pinctrl-names = "default";
	pinctrl-0 = <&mcu_cpsw_pins_default>, <&mcu_mdio_pins_default>;
};

&davinci_mdio {
	phy0: ethernet-phy@0 {
		reg = <0>;
		ti,rx-internal-delay = <DP83867_RGMIIDCTL_2_00_NS>;
		ti,fifo-depth = <DP83867_PHYCR_FIFO_DEPTH_4_B_NIB>;
	};
};

&cpsw_port1 {
	phy-mode = "rgmii-rxid";
	phy-handle = <&phy0>;
};

&dss {
	pinctrl-names = "default";
	pinctrl-0 = <&dss_vout0_pins_default>;

	assigned-clocks = <&k3_clks 152 1>,	/* VP 1 pixel clock */
			  <&k3_clks 152 4>,	/* VP 2 pixel clock */
			  <&k3_clks 152 9>,	/* VP 3 pixel clock */
			  <&k3_clks 152 13>;	/* VP 4 pixel clock */
	assigned-clock-parents = <&k3_clks 152 2>,	/* PLL16_HSDIV0 */
				 <&k3_clks 152 6>,	/* DPI0_EXT_CLKSEL_OUT0 */
				 <&k3_clks 152 11>,	/* PLL18_HSDIV0 */
				 <&k3_clks 152 18>;	/* DPI1_EXT_CLKSEL_OUT0 */
};

&dss_ports {
	#address-cells = <1>;
	#size-cells = <0>;

	port@0  {
		reg = <0>;

		dpi0_out: endpoint {
			remote-endpoint = <&dp0_in>;
		};
	};

	port@1 {
		reg = <1>;

		dpi1_out: endpoint {
			remote-endpoint = <&tfp410_in>;
		};
	};
};

&dp0_ports {
	#address-cells = <1>;
	#size-cells = <0>;

	port@0 {
		reg = <0>;
		dp0_in: endpoint {
			remote-endpoint = <&dpi0_out>;
		};
	};

	port@4 {
		reg = <4>;
		dp0_out: endpoint {
			remote-endpoint = <&dp_connector_in>;
		};
	};
};

&serdes0 {
	serdes0_pcie_link: phy@0 {
		reg = <0>;
		cdns,num-lanes = <1>;
		#phy-cells = <0>;
		cdns,phy-type = <PHY_TYPE_PCIE>;
		resets = <&serdes_wiz0 1>;
	};
};

&serdes1 {
	serdes1_pcie_link: phy@0 {
		reg = <0>;
		cdns,num-lanes = <2>;
		#phy-cells = <0>;
		cdns,phy-type = <PHY_TYPE_PCIE>;
		resets = <&serdes_wiz1 1>, <&serdes_wiz1 2>;
	};
};

&pcie0_rc {
	status = "okay";
	pinctrl-names = "default";
	pinctrl-0 = <&ekey_reset_pins_default>;
	reset-gpios = <&main_gpio0 72 GPIO_ACTIVE_HIGH>;

	phys = <&serdes0_pcie_link>;
	phy-names = "pcie-phy";
	num-lanes = <1>;
};

&pcie1_rc {
	status = "okay";
	pinctrl-names = "default";
	pinctrl-0 = <&mkey_reset_pins_default>;
	reset-gpios = <&wkup_gpio0 11 GPIO_ACTIVE_HIGH>;

	phys = <&serdes1_pcie_link>;
	phy-names = "pcie-phy";
	num-lanes = <2>;
};

&ufs_wrapper {
	status = "disabled";
};

&mailbox0_cluster0 {
	status = "okay";
	interrupts = <436>;

	mbox_mcu_r5fss0_core0: mbox-mcu-r5fss0-core0 {
		ti,mbox-rx = <0 0 0>;
		ti,mbox-tx = <1 0 0>;
	};

	mbox_mcu_r5fss0_core1: mbox-mcu-r5fss0-core1 {
		ti,mbox-rx = <2 0 0>;
		ti,mbox-tx = <3 0 0>;
	};
};

&mailbox0_cluster1 {
	status = "okay";
	interrupts = <432>;

	mbox_main_r5fss0_core0: mbox-main-r5fss0-core0 {
		ti,mbox-rx = <0 0 0>;
		ti,mbox-tx = <1 0 0>;
	};

	mbox_main_r5fss0_core1: mbox-main-r5fss0-core1 {
		ti,mbox-rx = <2 0 0>;
		ti,mbox-tx = <3 0 0>;
	};
};

&mailbox0_cluster2 {
	status = "okay";
	interrupts = <428>;

	mbox_main_r5fss1_core0: mbox-main-r5fss1-core0 {
		ti,mbox-rx = <0 0 0>;
		ti,mbox-tx = <1 0 0>;
	};

	mbox_main_r5fss1_core1: mbox-main-r5fss1-core1 {
		ti,mbox-rx = <2 0 0>;
		ti,mbox-tx = <3 0 0>;
	};
};

&mailbox0_cluster3 {
	status = "okay";
	interrupts = <424>;

	mbox_c66_0: mbox-c66-0 {
		ti,mbox-rx = <0 0 0>;
		ti,mbox-tx = <1 0 0>;
	};

	mbox_c66_1: mbox-c66-1 {
		ti,mbox-rx = <2 0 0>;
		ti,mbox-tx = <3 0 0>;
	};
};

&mailbox0_cluster4 {
	status = "okay";
	interrupts = <420>;

	mbox_c71_0: mbox-c71-0 {
		ti,mbox-rx = <0 0 0>;
		ti,mbox-tx = <1 0 0>;
	};
};

&mcu_r5fss0_core0 {
	mboxes = <&mailbox0_cluster0 &mbox_mcu_r5fss0_core0>;
	memory-region = <&mcu_r5fss0_core0_dma_memory_region>,
			<&mcu_r5fss0_core0_memory_region>;
};

&mcu_r5fss0_core1 {
	mboxes = <&mailbox0_cluster0 &mbox_mcu_r5fss0_core1>;
	memory-region = <&mcu_r5fss0_core1_dma_memory_region>,
			<&mcu_r5fss0_core1_memory_region>;
};

&main_r5fss0_core0 {
	mboxes = <&mailbox0_cluster1 &mbox_main_r5fss0_core0>;
	memory-region = <&main_r5fss0_core0_dma_memory_region>,
			<&main_r5fss0_core0_memory_region>;
};

&main_r5fss0_core1 {
	mboxes = <&mailbox0_cluster1 &mbox_main_r5fss0_core1>;
	memory-region = <&main_r5fss0_core1_dma_memory_region>,
			<&main_r5fss0_core1_memory_region>;
};

&main_r5fss1_core0 {
	mboxes = <&mailbox0_cluster2 &mbox_main_r5fss1_core0>;
	memory-region = <&main_r5fss1_core0_dma_memory_region>,
			<&main_r5fss1_core0_memory_region>;
};

&main_r5fss1_core1 {
	mboxes = <&mailbox0_cluster2 &mbox_main_r5fss1_core1>;
	memory-region = <&main_r5fss1_core1_dma_memory_region>,
			<&main_r5fss1_core1_memory_region>;
};

&c66_0 {
	status = "okay";
	mboxes = <&mailbox0_cluster3 &mbox_c66_0>;
	memory-region = <&c66_0_dma_memory_region>,
			<&c66_0_memory_region>;
};

&c66_1 {
	status = "okay";
	mboxes = <&mailbox0_cluster3 &mbox_c66_1>;
	memory-region = <&c66_1_dma_memory_region>,
			<&c66_1_memory_region>;
};

&c71_0 {
	status = "okay";
	mboxes = <&mailbox0_cluster4 &mbox_c71_0>;
	memory-region = <&c71_0_dma_memory_region>,
			<&c71_0_memory_region>;
};
